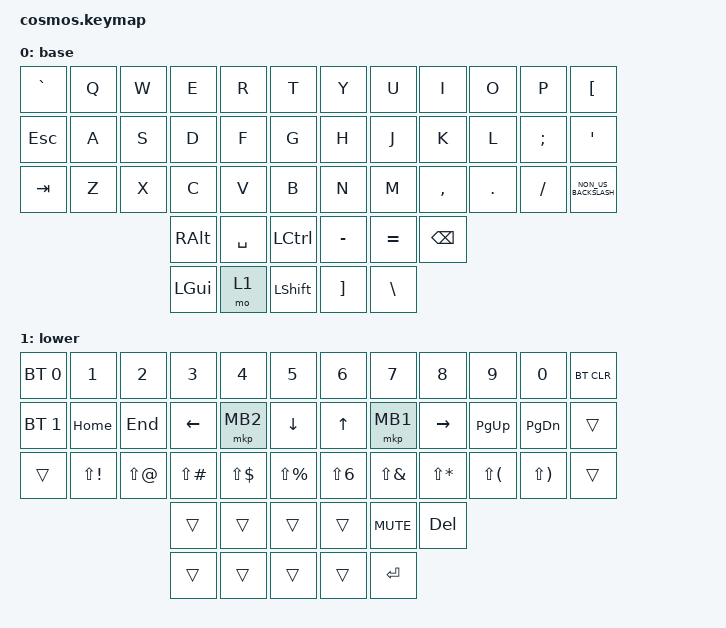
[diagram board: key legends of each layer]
#include <input/processors.dtsi>
#include <dt-bindings/zmk/input_transform.h>
#include <dt-bindings/zmk/mouse.h>
#include <behaviors.dtsi>
#include <dt-bindings/zmk/bt.h>
#include <dt-bindings/zmk/keys.h>
#include <dt-bindings/zmk/pointing.h>

#define U_TAPPING_TERM 200

/ {
    combos {
        compatible = "zmk,combos";

        clear-bt-one {
            bindings = <&bt BT_CLR>;
            key-positions = <36 38 37 44 43 42 36 37 38 42 43 44 36 37 38 42 43 44>;
        };

        clear-bt-all {
            bindings = <&bt BT_CLR_ALL>;
            key-positions = <36 37 38 39 40 41 42 43 44 45 46>;
        };
    };

    keymap {
        compatible = "zmk,keymap";

        base {
            bindings = <
&kp GRAVE  &kp Q  &kp W  &kp E          &kp R      &kp T      &kp Y              &kp U          &kp I          &kp O    &kp P      &kp LEFT_BRACKET
&kp ESC    &kp A  &kp S  &kp D          &kp F      &kp G      &kp H              &kp J          &kp K          &kp L    &kp SEMI   &kp SQT
&kp TAB    &kp Z  &kp X  &kp C          &kp V      &kp B      &kp N              &kp M          &kp COMMA      &kp DOT  &kp SLASH  &kp NON_US_BACKSLASH
                         &kp RIGHT_ALT  &kp SPACE  &kp LCTRL  &kp MINUS          &kp EQUAL      &kp BACKSPACE
                         &kp LEFT_GUI   &mo 1      &kp LSHFT  &kp RIGHT_BRACKET  &kp BACKSLASH
            >;
        };

        lower {
            bindings = <
&bt BT_SEL 0  &kp NUMBER_1  &kp NUMBER_2  &kp NUMBER_3   &kp NUMBER_4  &kp N5          &kp NUMBER_6      &kp N7        &kp N8        &kp N9        &kp N0         &bt BT_CLR
&bt BT_SEL 1  &kp HOME      &kp END       &kp LEFT       &mkp MB2      &kp DOWN_ARROW  &kp UP_ARROW      &mkp MB1      &kp RIGHT     &kp PAGE_UP   &kp PAGE_DOWN  &trans
&trans        &kp LS(EXCL)  &kp LS(AT)    &kp LS(POUND)  &kp LS(DLLR)  &kp LS(PRCNT)   &kp LS(NUMBER_6)  &kp LS(AMPS)  &kp LS(STAR)  &kp LS(LPAR)  &kp LS(RPAR)   &trans
                                          &trans         &trans        &trans          &trans            &kp C_MUTE    &kp DEL
                                          &trans         &trans        &trans          &trans            &kp ENTER
            >;
        };
    };
};
